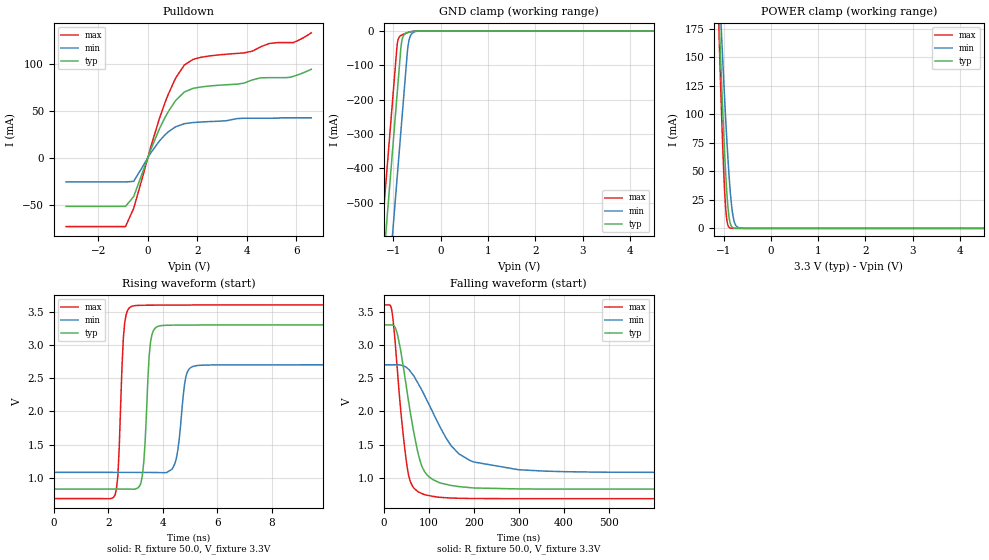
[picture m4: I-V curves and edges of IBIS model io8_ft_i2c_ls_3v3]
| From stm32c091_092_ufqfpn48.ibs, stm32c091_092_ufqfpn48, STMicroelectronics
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[Model]   io8_ft_i2c_ls_3v3
Model_type I/O_open_drain
Polarity   Non-Inverting
Enable   Active-Low
| CAP_THRESHOLD on pad IOFT is "UDTCAPC" :
| Rising=30.0% of vddiom   Falling=70.0% of vddiom
| C_comp min and max val. don't necessarily correlate with the min and max pvt
| but are the smallest and greatest pad capacitance found.
| var   typ   min   max
C_comp   2.42038pF  2.36366pF  2.44769pF
|C_comp_pulldown   2.42038pF  2.36366pF  2.44769pF
Vinl = 1.35V
Vinh = 1.8V
Vmeas = 1.65V   | Reference voltage for timing measurements
Cref  = 50.0pF   | Timing specification test load capacitance value
Rref  = 1.0MOhm   | Timing specification test load resistance value
Vref  = 1.815V   | Timing specification test load voltage
[Model Spec]
| TIME_THRESHOLD on pin ZII2CV12 is "CMOS" :
| Rising=50.0% of vdd   Falling=50.0% of vdd
Vinl 1.34770V 1.11370V 1.44970V
Vinh 1.77530V 1.49530V 1.90330V
| variable   typ   min   max
[Temperature Range] 25.0 125.0 -40.0
| variable   typ   min   max
[Voltage Range] 3.3V 2.7V 3.6V
| variable   typ   min   max
[POWER Clamp Reference] 3.3V 2.7V 3.6V
| variable   typ   min   max
[GND Clamp Reference] 0V 0V 0V
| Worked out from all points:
|   slope of the pulldown table from 0 to 0.495 V, typ, clamps not added: 15.4 ohm
|   GND clamp passes 1 mA (typ) near -0.58 V on its own axis
|   POWER clamp passes 1 mA (typ) near -0.81 V on its own axis
|   rising waveform, R_fixture 50.0, V_fixture 3.3V: 20-80 % time 180ps typ, 243ps min, 163ps max; typ from 0.831 V to 3.3 V
|   falling waveform, R_fixture 50.0, V_fixture 3.3V: 20-80 % time 37.8ns typ, 80.9ns min, 24.3ns max; typ from 3.3 V to 0.831 V
[POWER Clamp]
-3.3V     2.991A     2.543A     3.694A
-1.1V     191.1mA    222.7mA    177.1mA
-1.08V    169mA      204.2mA    149.9mA
-1.05V    136.9mA    176.9mA    110.9mA
-1.01V    96.55mA    141.6mA    64.02mA
-970mV    60.39mA    108.2mA    27.41mA
-930mV    31.08mA    77.43mA    7.282mA
-900mV    15.67mA    56.69mA    2.025mA
-860mV    4.779mA    33.42mA    315.2uA
-780mV    272.1uA    6.953mA    6.98uA
-670mV    4.467uA    374.2uA    36.58nA
6.6V      0A         0A         0A
[GND Clamp]
-3.3V     -4.227A    -4.472A    -4.082A
-1.25V    -742.2mA   -986.7mA   -597.4mA
-930mV    -198.2mA   -442.7mA   -53.39mA
-920mV    -181.2mA   -425.7mA   -39.67mA
-890mV    -130.2mA   -374.7mA   -20.93mA
-830mV    -35.33mA   -272.7mA   -12.06mA
-790mV    -14.13mA   -204.7mA   -9.442mA
-720mV    -5.312mA   -85.66mA   -5.702mA
-690mV    -3.888mA   -42.66mA   -4.338mA
-650mV    -2.529mA   -17.47mA   -2.784mA
-480mV    -113.2uA   -479.8uA   -69.15uA
6.6V      942.9pA    93.37nA    678.9pA
| variable   typ   min   max
[Pullup Reference] 3.3V 2.7V 3.6V
| variable   typ   min   max
[Pulldown Reference] 0V 0V 0V
[Pulldown]
-3.3V     -51.88mA   -25.81mA   -73.46mA
-900mV    -51.88mA   -25.81mA   -73.32mA
-570mV    -41.39mA   -25.18mA   -53.99mA
120mV     8.622mA    5.148mA    11.58mA
690mV     42.7mA     24.28mA    58.45mA
1.08V     59.39mA    32.34mA    82.54mA
1.48V     70.24mA    36.36mA    99.08mA
2.17V     75.62mA    38.17mA    107.3mA
3.88V     79.57mA    42.16mA    111.9mA
4.9V      85.45mA    42.16mA    121.9mA
5.88V     86.9mA     42.6mA     122.9mA
6.6V      94.4mA     42.6mA     133.3mA
[Ramp]
dV/dt_r 1.48134V/173.53396ps 971.10783mV/241.85165ps 1.74774V/157.98152ps
dV/dt_f 1.48135V/37.79363ns 971.11781mV/80.90509ns 1.74775V/24.26211ns
R_load = 50.0
| Removed startup time: 0s 0s 0s  .
| Removed end time: 59.75ns.
[Rising Waveform]
R_fixture   = 50.0
V_fixture   = 3.3V
V_fixture_min = 2.7V
V_fixture_max = 3.6V
0s        831.1mV    1.081V     687.1mV
2.25ns    830.7mV    1.081V     742.4mV
2.35ns    830.6mV    1.081V     1.025V
2.6ns     830.3mV    1.081V     3.325V
3ns       830.7mV    1.081V     3.59V
3.3ns     1.225V     1.08V      3.595V
3.55ns    3.042V     1.08V      3.596V
3.95ns    3.289V     1.077V     3.597V
5.35ns    3.298V     2.691V     3.599V
59.75ns   3.3V       2.7V       3.6V
| Removed startup time: 0s 0s 0s  .
| Removed end time: 899.75ns.
[Falling Waveform]
R_fixture   = 50.0
V_fixture   = 3.3V
V_fixture_min = 2.7V
V_fixture_max = 3.6V
0s        3.3V       2.7V       3.6V
17.7ns    3.3V       2.7V       3.512V
29.85ns   3.163V     2.7V       2.62V
40.35ns   2.783V     2.69V      1.808V
52.83ns   2.236V     2.644V     1.112V
76.97ns   1.342V     2.407V     787mV
108.9ns   973.6mV    1.983V     722.9mV
149.3ns   885.9mV    1.484V     696.6mV
200ns     848.3mV    1.239V     689.8mV
899.8ns   831.1mV    1.081V     687.1mV
